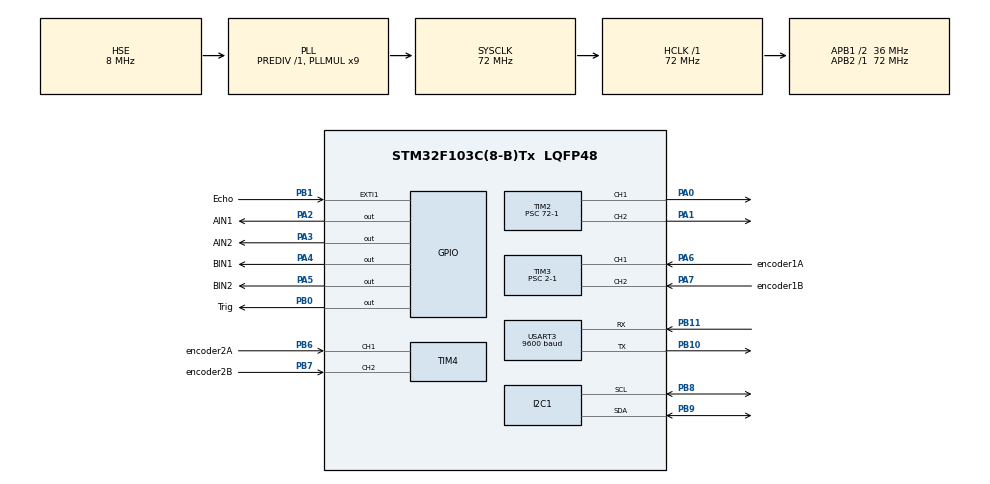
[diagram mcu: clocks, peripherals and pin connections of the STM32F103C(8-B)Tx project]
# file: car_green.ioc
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Dma.Request0=USART3_RX
Dma.Request1=USART3_TX
Dma.USART3_RX.0.Direction=DMA_PERIPH_TO_MEMORY
Dma.USART3_RX.0.Instance=DMA1_Channel3
Dma.USART3_RX.0.MemDataAlignment=DMA_MDATAALIGN_BYTE
Dma.USART3_RX.0.MemInc=DMA_MINC_ENABLE
Dma.USART3_RX.0.Mode=DMA_NORMAL
Dma.USART3_RX.0.PeriphDataAlignment=DMA_PDATAALIGN_BYTE
Dma.USART3_RX.0.PeriphInc=DMA_PINC_DISABLE
Dma.USART3_RX.0.Priority=DMA_PRIORITY_LOW
Dma.USART3_TX.1.Direction=DMA_MEMORY_TO_PERIPH
Dma.USART3_TX.1.Instance=DMA1_Channel2
Dma.USART3_TX.1.MemDataAlignment=DMA_MDATAALIGN_BYTE
Dma.USART3_TX.1.MemInc=DMA_MINC_ENABLE
Dma.USART3_TX.1.Mode=DMA_NORMAL
Dma.USART3_TX.1.PeriphDataAlignment=DMA_PDATAALIGN_BYTE
Dma.USART3_TX.1.PeriphInc=DMA_PINC_DISABLE
Dma.USART3_TX.1.Priority=DMA_PRIORITY_LOW
Mcu.Family=STM32F1
Mcu.Name=STM32F103C(8-B)Tx
Mcu.Package=LQFP48
NVIC.DMA1_Channel2_IRQn=true\:0\:0\:false\:false\:true\:false\:true\:true
NVIC.DMA1_Channel3_IRQn=true\:0\:0\:false\:false\:true\:false\:true\:true
NVIC.EXTI1_IRQn=true\:0\:0\:false\:false\:true\:true\:true\:true
NVIC.PriorityGroup=NVIC_PRIORITYGROUP_4
NVIC.TIM1_UP_IRQn=true\:0\:0\:true\:false\:true\:true\:true\:true
NVIC.USART3_IRQn=true\:0\:0\:false\:false\:true\:true\:true\:true
PA0-WKUP.Signal=S_TIM2_CH1_ETR
PA1.Signal=S_TIM2_CH2
PA13.Mode=Serial_Wire
PA13.Signal=SYS_JTMS-SWDIO
PA14.Mode=Serial_Wire
PA14.Signal=SYS_JTCK-SWCLK
PA2.GPIO_Label=AIN1
PA2.Signal=GPIO_Output
PA3.GPIO_Label=AIN2
PA3.Signal=GPIO_Output
PA4.GPIO_Label=BIN1
PA4.Signal=GPIO_Output
PA5.GPIO_Label=BIN2
PA5.Signal=GPIO_Output
PA6.GPIO_Label=encoder1A
PA6.Signal=S_TIM3_CH1
PA7.GPIO_Label=encoder1B
PA7.Signal=S_TIM3_CH2
PB0.GPIO_Label=Trig
PB0.Signal=GPIO_Output
PB1.GPIO_Label=Echo
PB1.GPIO_ModeDefaultEXTI=GPIO_MODE_IT_RISING_FALLING
PB1.GPIO_PuPd=GPIO_PULLDOWN
PB1.Signal=GPXTI1
PB10.Mode=Asynchronous
PB10.Signal=USART3_TX
PB11.Mode=Asynchronous
PB11.Signal=USART3_RX
PB6.GPIO_Label=encoder2A
PB6.Signal=S_TIM4_CH1
PB7.GPIO_Label=encoder2B
PB7.Signal=S_TIM4_CH2
PB8.Mode=I2C
PB8.Signal=I2C1_SCL
PB9.Mode=I2C
PB9.Signal=I2C1_SDA
PD0-OSC_IN.Mode=HSE-External-Oscillator
PD0-OSC_IN.Signal=RCC_OSC_IN
PD1-OSC_OUT.Mode=HSE-External-Oscillator
PD1-OSC_OUT.Signal=RCC_OSC_OUT
ProjectManager.HeapSize=0x200
ProjectManager.StackSize=0x400
ProjectManager.TargetToolchain=CMake
RCC.ADCPresc=RCC_ADCPCLK2_DIV6
RCC.AHBFreq_Value=72000000
RCC.APB1CLKDivider=RCC_HCLK_DIV2
RCC.APB1Freq_Value=36000000
RCC.APB1TimFreq_Value=72000000
RCC.APB2Freq_Value=72000000
RCC.APB2TimFreq_Value=72000000
RCC.HCLKFreq_Value=72000000
RCC.PLLMUL=RCC_PLL_MUL9
RCC.PLLSourceVirtual=RCC_PLLSOURCE_HSE
RCC.SYSCLKFreq_VALUE=72000000
RCC.SYSCLKSource=RCC_SYSCLKSOURCE_PLLCLK
RCC.USBFreq_Value=48000000
RCC.USBPrescaler=RCC_USBCLKSOURCE_PLL_DIV1_5
SH.S_TIM2_CH1_ETR.0=TIM2_CH1,PWM Generation1 CH1
SH.S_TIM2_CH2.0=TIM2_CH2,PWM Generation2 CH2
SH.S_TIM3_CH1.0=TIM3_CH1,Encoder_Interface
SH.S_TIM3_CH2.0=TIM3_CH2,Encoder_Interface
SH.S_TIM4_CH1.0=TIM4_CH1,Encoder_Interface
SH.S_TIM4_CH2.0=TIM4_CH2,Encoder_Interface
TIM1.Period=10000-1
TIM1.Prescaler=72-1
TIM2.AutoReloadPreload=TIM_AUTORELOAD_PRELOAD_ENABLE
TIM2.Channel-PWM\ Generation1\ CH1=TIM_CHANNEL_1
TIM2.Channel-PWM\ Generation2\ CH2=TIM_CHANNEL_2
TIM2.Period=100-1
TIM2.Prescaler=72-1
TIM3.IC1Filter=8
TIM3.IC2Filter=8
TIM3.Prescaler=2-1
USART3.BaudRate=9600
USART3.VirtualMode=VM_ASYNC
VP_TIM1_VS_ClockSourceINT.Mode=Internal
VP_TIM2_VS_ClockSourceINT.Mode=Internal
board=custom

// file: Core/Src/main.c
/* USER CODE BEGIN Header */
/**
 ******************************************************************************
 * @file           : main.c
 * @brief          : Main program body
 ******************************************************************************
 * @attention
 *
 * Copyright (c) 2025 STMicroelectronics.
 * All rights reserved.
 *
 * This software is licensed under terms that can be found in the LICENSE file
 * in the root directory of this software component.
 * If no LICENSE file comes with this software, it is provided AS-IS.
 *
 ******************************************************************************
 */
/* USER CODE END Header */
#include "main.h"
#include "dma.h"
#include "i2c.h"
#include "tim.h"
#include "usart.h"
#include "gpio.h"

/* USER CODE BEGIN Includes */
#include "motor.h"
#include <stdlib.h>
#include "config.h"
#include "wave.h"
#include "timer.h"

#include <stdio.h>
#include <string.h>

/* USER CODE END Includes */

/* USER CODE BEGIN PD */
// #define CKUART &huart2

/* USER CODE END PD */

/* USER CODE BEGIN PV */
uint8_t BTReceiveData[50]; // blue tooth
uint8_t CKReceiveData[50]; // uart
int speed = 99;
int last_count= 0;

unsigned long long currentMillis = 0; // 启动到现在的毫秒数

unsigned long long lastTrigMillis = 0;

/* USER CODE END PV */

void SystemClock_Config(void);

/* USER CODE BEGIN 0 */

void HAL_UARTEx_RxEventCallback(UART_HandleTypeDef *huart, uint16_t Size) {

	if (huart == BTUART)
	{

	// itoa(speed, (char*)lst, 10);

	if (BTReceiveData[0] == '1') // 1: 正转
	{
		speed = (BTReceiveData[1] -'0') * 100 + (BTReceiveData[2] -'0') * 10 + (BTReceiveData[3] -'0');

	} else if (BTReceiveData[0] == '0') // 0: 倒转
	{
		speed =
			-((BTReceiveData[1] -'0') * 100 + (BTReceiveData[2] -'0') * 10 + (BTReceiveData[3] -'0'));
	}

	uint8_t lst[5];

	itoa(speed, (char*)lst, 10);

	HAL_UART_Transmit_DMA(&huart3, lst, sizeof(lst));

	HAL_UARTEx_ReceiveToIdle_DMA(&huart3, BTReceiveData, sizeof(BTReceiveData));
	__HAL_DMA_DISABLE_IT(&hdma_usart3_rx, DMA_IT_HT);
	}
}

uint8_t	trig_cnt = 0;

void HAL_TIM_PeriodElapsedCallback(TIM_HandleTypeDef *htim)
{
	// 每次 timerTIM 触发中断 （当前间隔设置为 10 ms）
	// 写 count，重置 arr
	if (htim == timerTIM)
	{
	    encoder_get_count();

		update10ms();

	}

}

_Bool forward = 1;
void motor_back_and_forward(void) {
  if (forward) {
    speed += 10;
  } else {
    speed -= 10;
  }

  if (speed >= 100) {
    forward = 0;
  } else if (speed <= -100) {
    forward = 1;
  }
  motor_set(1, speed);
  HAL_Delay(50);
}

/* USER CODE END 0 */

int main(void)
{

  /* MCU Configuration--------------------------------------------------------*/

  /* Reset of all peripherals, Initializes the Flash interface and the Systick. */
  HAL_Init();

  /* USER CODE BEGIN Init */
  //   motor_Init();

  /* USER CODE END Init */

  /* Configure the system clock */
  SystemClock_Config();

  /* Initialize all configured peripherals */
  MX_GPIO_Init();
  MX_DMA_Init();
  MX_USART3_UART_Init();
  MX_TIM2_Init();
  MX_TIM1_Init();
  MX_TIM3_Init();
  MX_TIM4_Init();
  MX_I2C1_Init();
  /* USER CODE BEGIN 2 */

  HAL_UARTEx_ReceiveToIdle_DMA(&huart3, BTReceiveData, sizeof(BTReceiveData));
  __HAL_DMA_DISABLE_IT(&hdma_usart3_rx, DMA_IT_HT);

//   HAL_UARTEx_ReceiveToIdle_DMA(&huart2, CKReceiveData, sizeof(CKReceiveData));
//   __HAL_DMA_DISABLE_IT(&hdma_usart2_rx, DMA_IT_HT);

  // HAL_TIM_PWM_Start(&htim2,TIM_CHANNEL_1);

  HAL_TIM_Base_Start_IT(timerTIM);

  motor_Init();

  /* USER CODE END 2 */

  /* Infinite loop */
  /* USER CODE BEGIN WHILE */

  while (1) {

	currentMillis = millis();

	// motor_back_and_forward();
    motor_set(1, speed);

	int dis = get_last_distance() /10000;

	char disstr[50] = "";

	sprintf(disstr, "Last distance = %d cm, %d", dis, last_distance_count);

	HAL_UART_Transmit_DMA(&huart3, (uint8_t*)disstr, strlen(disstr));

	HAL_Delay(500);

	if (currentMillis - lastTrigMillis >= 200)
	{
		wave_Trig();hj
		lastTrigMillis = currentMillis;
	}

	// uint8_t str[10];

	// itoa((count1 - last_count), str, 10);
  	// itoa((count1), str, 10);

	// last_count = count1;

	// uint8_t lstt[50];

	// HAL_UART_Transmit_DMA(&huart3, str, sizeof(str));

    // HAL_Delay(100);

    /* USER CODE END WHILE */

  }
}

void SystemClock_Config(void)
{
  RCC_OscInitTypeDef RCC_OscInitStruct = {0};
  RCC_ClkInitTypeDef RCC_ClkInitStruct = {0};

  /** Initializes the RCC Oscillators according to the specified parameters
  * in the RCC_OscInitTypeDef structure.
  */
  RCC_OscInitStruct.OscillatorType = RCC_OSCILLATORTYPE_HSE;
  RCC_OscInitStruct.HSEState = RCC_HSE_ON;
  RCC_OscInitStruct.HSEPredivValue = RCC_HSE_PREDIV_DIV1;
  RCC_OscInitStruct.HSIState = RCC_HSI_ON;
  RCC_OscInitStruct.PLL.PLLState = RCC_PLL_ON;
  RCC_OscInitStruct.PLL.PLLSource = RCC_PLLSOURCE_HSE;
  RCC_OscInitStruct.PLL.PLLMUL = RCC_PLL_MUL9;
  if (HAL_RCC_OscConfig(&RCC_OscInitStruct) != HAL_OK)
  {
    Error_Handler();
  }

  /** Initializes the CPU, AHB and APB buses clocks
  */
  RCC_ClkInitStruct.ClockType = RCC_CLOCKTYPE_HCLK|RCC_CLOCKTYPE_SYSCLK
                              |RCC_CLOCKTYPE_PCLK1|RCC_CLOCKTYPE_PCLK2;
  RCC_ClkInitStruct.SYSCLKSource = RCC_SYSCLKSOURCE_PLLCLK;
  RCC_ClkInitStruct.AHBCLKDivider = RCC_SYSCLK_DIV1;
  RCC_ClkInitStruct.APB1CLKDivider = RCC_HCLK_DIV2;
  RCC_ClkInitStruct.APB2CLKDivider = RCC_HCLK_DIV1;

  if (HAL_RCC_ClockConfig(&RCC_ClkInitStruct, FLASH_LATENCY_2) != HAL_OK)
  {
    Error_Handler();
  }
}

void Error_Handler(void)
{
  __disable_irq();
  while (1) {
  }
}

#ifdef  USE_FULL_ASSERT
/**
  * @brief  Reports the name of the source file and the source line number
  *         where the assert_param error has occurred.
  * @param  file: pointer to the source file name
  * @param  line: assert_param error line source number
  * @retval None
  */
void assert_failed(uint8_t *file, uint32_t line)
{
  /* USER CODE BEGIN 6 */
  /* User can add his own implementation to report the file name and line
     number, ex: printf("Wrong parameters value: file %s on line %d\r\n", file,
     line) */
  /* USER CODE END 6 */
}
#endif /* USE_FULL_ASSERT */
